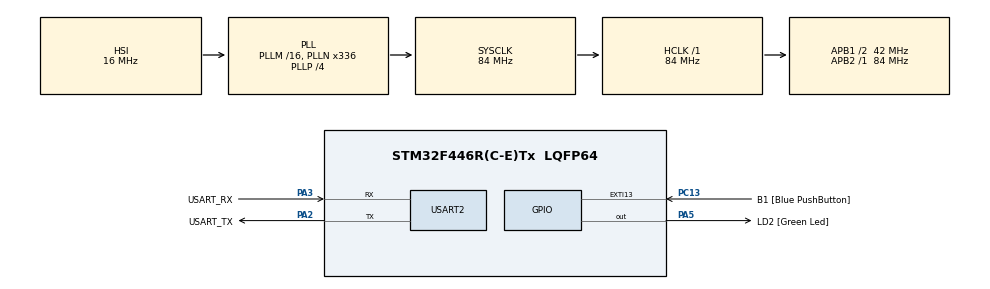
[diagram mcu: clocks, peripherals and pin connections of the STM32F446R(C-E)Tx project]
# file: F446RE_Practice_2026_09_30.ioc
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Mcu.Family=STM32F4
Mcu.Name=STM32F446R(C-E)Tx
Mcu.Package=LQFP64
NVIC.PriorityGroup=NVIC_PRIORITYGROUP_0
PA13.GPIO_Label=TMS
PA13.Mode=Serial_Wire
PA13.Signal=SYS_JTMS-SWDIO
PA14.GPIO_Label=TCK
PA14.Mode=Serial_Wire
PA14.Signal=SYS_JTCK-SWCLK
PA2.GPIO_Label=USART_TX
PA2.Mode=Asynchronous
PA2.Signal=USART2_TX
PA3.GPIO_Label=USART_RX
PA3.Mode=Asynchronous
PA3.Signal=USART2_RX
PA5.GPIO_Label=LD2 [Green Led]
PA5.Signal=GPIO_Output
PB3.GPIO_Label=SWO
PB3.Signal=SYS_JTDO-SWO
PC13.GPIO_Label=B1 [Blue PushButton]
PC13.GPIO_ModeDefaultEXTI=GPIO_MODE_IT_FALLING
PC13.Signal=GPXTI13
PC14-OSC32_IN.Mode=LSE-External-Oscillator
PC14-OSC32_IN.Signal=RCC_OSC32_IN
PC15-OSC32_OUT.Mode=LSE-External-Oscillator
PC15-OSC32_OUT.Signal=RCC_OSC32_OUT
PH0-OSC_IN.Mode=HSE-External-Oscillator
PH0-OSC_IN.Signal=RCC_OSC_IN
PH1-OSC_OUT.Mode=HSE-External-Oscillator
PH1-OSC_OUT.Signal=RCC_OSC_OUT
ProjectManager.HeapSize=0x200
ProjectManager.StackSize=0x400
ProjectManager.TargetToolchain=STM32CubeIDE
RCC.48MHZClocksFreq_Value=84000000
RCC.AHBFreq_Value=84000000
RCC.APB1CLKDivider=RCC_HCLK_DIV2
RCC.APB1Freq_Value=42000000
RCC.APB1TimFreq_Value=84000000
RCC.APB2Freq_Value=84000000
RCC.APB2TimFreq_Value=84000000
RCC.CortexFreq_Value=84000000
RCC.FLatency-AdvancedSettings=FLASH_LATENCY_2
RCC.HCLKFreq_Value=84000000
RCC.HSE_VALUE=8000000
RCC.HSI_VALUE=16000000
RCC.PLLN=336
RCC.PLLP=RCC_PLLP_DIV4
RCC.SYSCLKFreq_VALUE=84000000
RCC.SYSCLKSource=RCC_SYSCLKSOURCE_PLLCLK
RCC.USBFreq_Value=168000000
RCC.VCOOutputFreq_Value=336000000
USART2.VirtualMode=VM_ASYNC
board=NUCLEO-F446RE

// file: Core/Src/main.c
/* USER CODE BEGIN Header */
/**
  ******************************************************************************
  * @file           : main.c
  * @brief          : Main program body
  ******************************************************************************
  * @attention
  *
  * Copyright (c) 2026 STMicroelectronics.
  * All rights reserved.
  *
  * This software is licensed under terms that can be found in the LICENSE file
  * in the root directory of this software component.
  * If no LICENSE file comes with this software, it is provided AS-IS.
  *
  ******************************************************************************
  */
/* USER CODE END Header */
#include "main.h"

UART_HandleTypeDef huart2;

void SystemClock_Config(void);
static void MX_GPIO_Init(void);
static void MX_USART2_UART_Init(void);

int main(void)
{

  /* MCU Configuration--------------------------------------------------------*/

  /* Reset of all peripherals, Initializes the Flash interface and the Systick. */
  HAL_Init();

  /* Configure the system clock */
  SystemClock_Config();

  /* Initialize all configured peripherals */
  MX_GPIO_Init();
  MX_USART2_UART_Init();
  /* USER CODE BEGIN 2 */

  static const uint8_t ready_msg[] =
      "\r\nF446 UART ECHO READY\r\n";

  HAL_UART_Transmit(&huart2,
                    (uint8_t *)ready_msg,
                    sizeof(ready_msg) - 1U,
                    100U);

  /* USER CODE END 2 */

  /* Infinite loop */
  /* USER CODE BEGIN WHILE */
  while (1)
  {

	  uint8_t rx_byte;

	  if (HAL_UART_Receive(&huart2,
	                       &rx_byte,
	                       1U,
	                       1000U) == HAL_OK)
	  {
	      HAL_GPIO_TogglePin(GPIOA, GPIO_PIN_5);

	      HAL_UART_Transmit(&huart2,
	                        &rx_byte,
	                        1U,
	                        100U);
	  }

	  /* USER CODE END WHILE */

  }
}

void SystemClock_Config(void)
{
  RCC_OscInitTypeDef RCC_OscInitStruct = {0};
  RCC_ClkInitTypeDef RCC_ClkInitStruct = {0};

  /** Configure the main internal regulator output voltage
  */
  __HAL_RCC_PWR_CLK_ENABLE();
  __HAL_PWR_VOLTAGESCALING_CONFIG(PWR_REGULATOR_VOLTAGE_SCALE3);

  /** Initializes the RCC Oscillators according to the specified parameters
  * in the RCC_OscInitTypeDef structure.
  */
  RCC_OscInitStruct.OscillatorType = RCC_OSCILLATORTYPE_HSI;
  RCC_OscInitStruct.HSIState = RCC_HSI_ON;
  RCC_OscInitStruct.HSICalibrationValue = RCC_HSICALIBRATION_DEFAULT;
  RCC_OscInitStruct.PLL.PLLState = RCC_PLL_ON;
  RCC_OscInitStruct.PLL.PLLSource = RCC_PLLSOURCE_HSI;
  RCC_OscInitStruct.PLL.PLLM = 16;
  RCC_OscInitStruct.PLL.PLLN = 336;
  RCC_OscInitStruct.PLL.PLLP = RCC_PLLP_DIV4;
  RCC_OscInitStruct.PLL.PLLQ = 2;
  RCC_OscInitStruct.PLL.PLLR = 2;
  if (HAL_RCC_OscConfig(&RCC_OscInitStruct) != HAL_OK)
  {
    Error_Handler();
  }

  /** Initializes the CPU, AHB and APB buses clocks
  */
  RCC_ClkInitStruct.ClockType = RCC_CLOCKTYPE_HCLK|RCC_CLOCKTYPE_SYSCLK
                              |RCC_CLOCKTYPE_PCLK1|RCC_CLOCKTYPE_PCLK2;
  RCC_ClkInitStruct.SYSCLKSource = RCC_SYSCLKSOURCE_PLLCLK;
  RCC_ClkInitStruct.AHBCLKDivider = RCC_SYSCLK_DIV1;
  RCC_ClkInitStruct.APB1CLKDivider = RCC_HCLK_DIV2;
  RCC_ClkInitStruct.APB2CLKDivider = RCC_HCLK_DIV1;

  if (HAL_RCC_ClockConfig(&RCC_ClkInitStruct, FLASH_LATENCY_2) != HAL_OK)
  {
    Error_Handler();
  }
}

static void MX_USART2_UART_Init(void)
{

  huart2.Instance = USART2;
  huart2.Init.BaudRate = 115200;
  huart2.Init.WordLength = UART_WORDLENGTH_8B;
  huart2.Init.StopBits = UART_STOPBITS_1;
  huart2.Init.Parity = UART_PARITY_NONE;
  huart2.Init.Mode = UART_MODE_TX_RX;
  huart2.Init.HwFlowCtl = UART_HWCONTROL_NONE;
  huart2.Init.OverSampling = UART_OVERSAMPLING_16;
  if (HAL_UART_Init(&huart2) != HAL_OK)
  {
    Error_Handler();
  }

}

static void MX_GPIO_Init(void)
{
  GPIO_InitTypeDef GPIO_InitStruct = {0};

  /* GPIO Ports Clock Enable */
  __HAL_RCC_GPIOC_CLK_ENABLE();
  __HAL_RCC_GPIOH_CLK_ENABLE();
  __HAL_RCC_GPIOA_CLK_ENABLE();
  __HAL_RCC_GPIOB_CLK_ENABLE();

  /*Configure GPIO pin Output Level */
  HAL_GPIO_WritePin(LD2_GPIO_Port, LD2_Pin, GPIO_PIN_RESET);

  /*Configure GPIO pin : B1_Pin */
  GPIO_InitStruct.Pin = B1_Pin;
  GPIO_InitStruct.Mode = GPIO_MODE_IT_FALLING;
  GPIO_InitStruct.Pull = GPIO_NOPULL;
  HAL_GPIO_Init(B1_GPIO_Port, &GPIO_InitStruct);

  /*Configure GPIO pin : LD2_Pin */
  GPIO_InitStruct.Pin = LD2_Pin;
  GPIO_InitStruct.Mode = GPIO_MODE_OUTPUT_PP;
  GPIO_InitStruct.Pull = GPIO_NOPULL;
  GPIO_InitStruct.Speed = GPIO_SPEED_FREQ_LOW;
  HAL_GPIO_Init(LD2_GPIO_Port, &GPIO_InitStruct);

}

void Error_Handler(void)
{
  __disable_irq();
  while (1)
  {
  }
}
